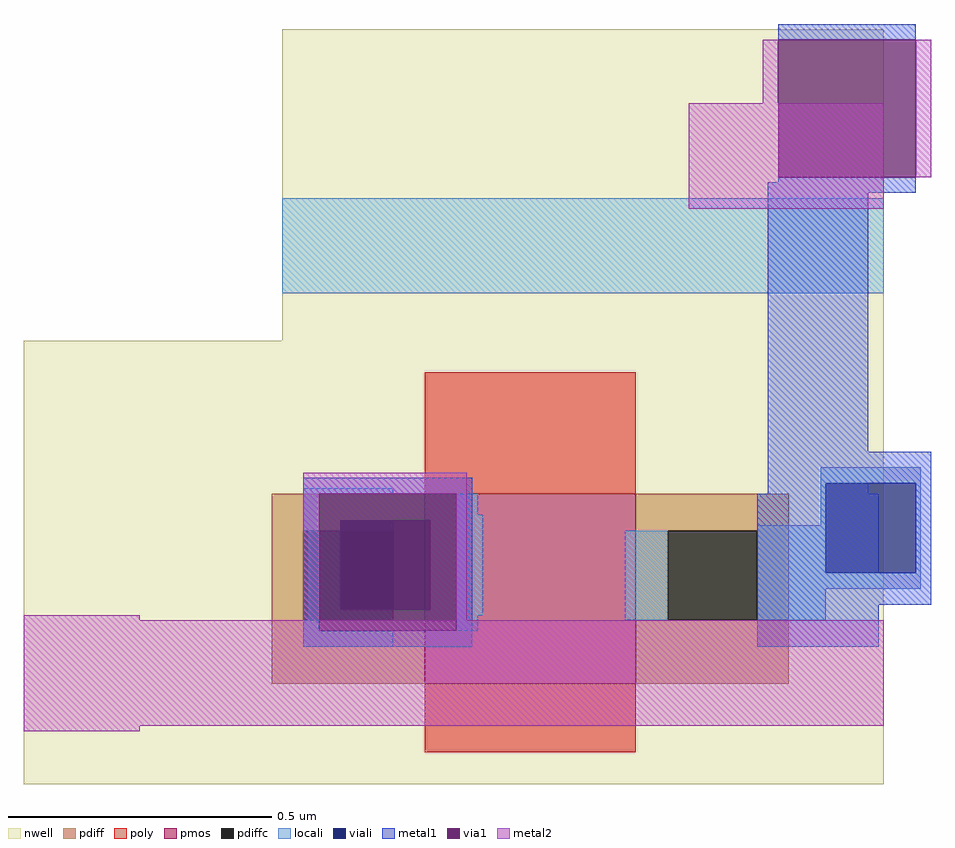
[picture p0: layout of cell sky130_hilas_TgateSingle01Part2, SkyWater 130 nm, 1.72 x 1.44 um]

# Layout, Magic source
magic
tech sky130A
<< nwell >>
rect 49 84 163 143
rect 0 0 163 84
<< pmos >>
rect 76 19 116 55
<< pdiff >>
rect 47 48 76 55
rect 47 31 53 48
rect 70 31 76 48
rect 47 19 76 31
rect 116 48 145 55
rect 116 31 122 48
rect 139 31 145 48
rect 116 19 145 31
<< pdiffc >>
rect 53 31 70 48
rect 122 31 139 48
<< poly >>
rect 76 55 116 78
rect 76 6 116 19
<< locali >>
rect 49 93 163 111
rect 53 48 70 56
rect 114 31 122 48
rect 139 31 152 49
rect 53 26 70 31
<< metal1 >>
rect 141 55 160 114
rect 139 26 162 55
<< metal2 >>
rect 126 109 163 129
rect 0 31 22 32
rect 0 11 163 31
rect 0 10 22 11
use sky130_hilas_li2m1  sky130_hilas_li2m1_3
transform 1 0 149 0 1 34
box 0 0 23 29
use sky130_hilas_li2m2  sky130_hilas_li2m2_2
transform 1 0 53 0 1 26
box 0 0 34 33
use sky130_hilas_m12m2  sky130_hilas_m12m2_2
transform 1 0 140 0 1 112
box 0 0 32 32
<< properties >>
string LEFsite unithd
string LEFclass CORE
string LEFsymmetry X Y R90
<< end >>

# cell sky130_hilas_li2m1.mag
magic
tech sky130A
<< locali >>
rect 2 23 21 26
rect 2 6 3 23
rect 20 6 21 23
rect 2 3 21 6
<< viali >>
rect 3 6 20 23
<< metal1 >>
rect 0 23 23 29
rect 0 6 3 23
rect 20 6 23 23
rect 0 0 23 6
<< properties >>
string LEFsite unithd
string LEFclass CORE
string LEFsymmetry X Y R90
<< end >>

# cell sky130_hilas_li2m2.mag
magic
tech sky130A
<< locali >>
rect 1 25 33 29
rect 1 24 34 25
rect 1 7 7 24
rect 24 7 34 24
rect 1 6 34 7
rect 1 3 33 6
<< viali >>
rect 7 7 24 24
<< metal1 >>
rect 0 29 32 32
rect 0 3 3 29
rect 29 3 32 29
rect 0 0 32 3
<< via1 >>
rect 3 24 29 29
rect 3 7 7 24
rect 7 7 24 24
rect 24 7 29 24
rect 3 3 29 7
<< metal2 >>
rect 0 29 31 33
rect 0 3 3 29
rect 29 3 31 29
rect 0 0 31 3
<< properties >>
string LEFsite unithd
string LEFclass CORE
string LEFsymmetry X Y R90
<< end >>

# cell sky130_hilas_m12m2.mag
magic
tech sky130A
<< metal1 >>
rect 3 29 29 32
rect 3 0 29 3
<< via1 >>
rect 3 3 29 29
<< metal2 >>
rect 0 3 3 29
rect 29 3 32 29
<< properties >>
string LEFsite unithd
string LEFclass CORE
string LEFsymmetry X Y R90
<< end >>
